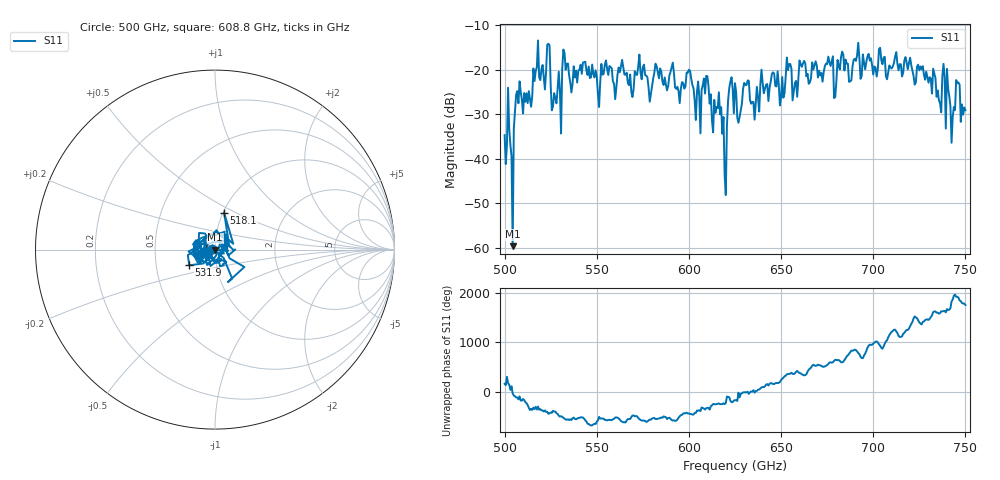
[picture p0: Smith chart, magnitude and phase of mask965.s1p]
!Created with skrf (http://scikit-rf.org).
# GHz S MA R 50.0
!freq magS11 angS11
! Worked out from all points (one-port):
!   401 points, 500 GHz to 750 GHz, reference 50 ohm
!   lowest |S11| = -59.6 dB at 504.4 GHz (marker M1), VSWR 1.00, Z = 50.1 - j0.0387 ohm
!   |S11| at or under -10 dB: start of sweep to end of sweep
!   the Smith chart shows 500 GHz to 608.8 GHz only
!   S11 on the Smith chart (normalised r, x): 500 GHz: 0.96, +0.01; 518.1 GHz: 1.01, +0.44; 531.9 GHz: 0.74, -0.13; 608.8 GHz: 1.11, +0.03
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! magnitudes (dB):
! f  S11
! 500 GHz  -34.7
! 502.5 GHz  -33.3
! 504.4 GHz  -59.6
! 506.9 GHz  -24.8
! 513.8 GHz  -26.6
! 518.1 GHz  -13.5
! 523.8 GHz  -14.2
! 526.9 GHz  -25.3
! 531.2 GHz  -19.9
! 531.9 GHz  -15.5
! 562.5 GHz  -20.6
! 579.4 GHz  -25.4
! 590.6 GHz  -19.4
! 593.8 GHz  -23.9
! 600 GHz  -20.0
! 605 GHz  -22.7
! 608.8 GHz  -25.4
! 617.5 GHz  -28.4
! 619.4 GHz  -43.6
! 622.5 GHz  -22.7
! 625 GHz  -23.1
! 650.6 GHz  -21.7
! 654.4 GHz  -18.8
! 656.2 GHz  -26.9
! 687.5 GHz  -22.6
! 691.2 GHz  -16.8
! 718.8 GHz  -19.9
! 750 GHz  -29.1
